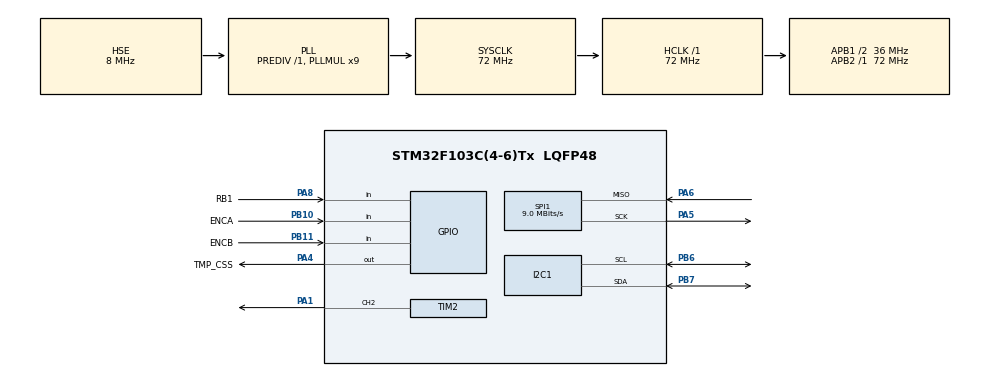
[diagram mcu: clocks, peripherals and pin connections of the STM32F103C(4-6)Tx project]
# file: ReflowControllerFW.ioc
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I2C1.I2C_Mode=I2C_Fast
Mcu.Family=STM32F1
Mcu.Name=STM32F103C(4-6)Tx
Mcu.Package=LQFP48
NVIC.PriorityGroup=NVIC_PRIORITYGROUP_4
PA1.Signal=S_TIM2_CH2
PA13.Mode=Trace_Asynchronous_SW
PA13.Signal=SYS_JTMS-SWDIO
PA14.Mode=Trace_Asynchronous_SW
PA14.Signal=SYS_JTCK-SWCLK
PA4.GPIO_Label=TMP_CSS
PA4.Signal=GPIO_Output
PA5.Mode=RX_Only_Simplex_Unidirect_Master
PA5.Signal=SPI1_SCK
PA6.Mode=RX_Only_Simplex_Unidirect_Master
PA6.Signal=SPI1_MISO
PA8.GPIO_Label=RB1
PA8.Signal=GPIO_Input
PB10.GPIO_Label=ENCA
PB10.GPIO_PuPd=GPIO_PULLUP
PB10.Signal=GPIO_Input
PB11.GPIO_Label=ENCB
PB11.GPIO_PuPd=GPIO_PULLUP
PB11.Signal=GPIO_Input
PB3.Mode=Trace_Asynchronous_SW
PB3.Signal=SYS_JTDO-TRACESWO
PB6.Mode=I2C
PB6.Signal=I2C1_SCL
PB7.Mode=I2C
PB7.Signal=I2C1_SDA
PD0-OSC_IN.Mode=HSE-External-Oscillator
PD0-OSC_IN.Signal=RCC_OSC_IN
PD1-OSC_OUT.Mode=HSE-External-Oscillator
PD1-OSC_OUT.Signal=RCC_OSC_OUT
ProjectManager.HeapSize=0x200
ProjectManager.StackSize=0x400
ProjectManager.TargetToolchain=STM32CubeIDE
RCC.AHBFreq_Value=72000000
RCC.APB1CLKDivider=RCC_HCLK_DIV2
RCC.APB1Freq_Value=36000000
RCC.APB1TimFreq_Value=72000000
RCC.APB2Freq_Value=72000000
RCC.APB2TimFreq_Value=72000000
RCC.HCLKFreq_Value=72000000
RCC.PLLMUL=RCC_PLL_MUL9
RCC.PLLSourceVirtual=RCC_PLLSOURCE_HSE
RCC.SYSCLKFreq_VALUE=72000000
RCC.SYSCLKSource=RCC_SYSCLKSOURCE_PLLCLK
RCC.USBFreq_Value=72000000
SH.S_TIM2_CH2.0=TIM2_CH2,PWM Generation2 CH2
SPI1.BaudRatePrescaler=SPI_BAUDRATEPRESCALER_8
SPI1.CalculateBaudRate=9.0 MBits/s
SPI1.Direction=SPI_DIRECTION_2LINES_RXONLY
SPI1.Mode=SPI_MODE_MASTER
SPI1.VirtualType=VM_MASTER
TIM2.Channel-PWM\ Generation2\ CH2=TIM_CHANNEL_2
TIM2.Period=100-1
TIM2.Prescaler=7200-1
VP_TIM2_VS_ClockSourceINT.Mode=Internal
board=custom

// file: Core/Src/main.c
/* USER CODE BEGIN Header */
/**
  ******************************************************************************
  * @file           : main.c
  * @brief          : Main program body
  ******************************************************************************
  * @attention
  *
  * Copyright (c) 2022 STMicroelectronics.
  * All rights reserved.
  *
  * This software is licensed under terms that can be found in the LICENSE file
  * in the root directory of this software component.
  * If no LICENSE file comes with this software, it is provided AS-IS.
  *
  ******************************************************************************
  */
/* USER CODE END Header */
#include "main.h"
#include "PID.h"
#include "fonts.h"
#include "ssd1306.h"
#include "Encoder.h"

I2C_HandleTypeDef hi2c1;

SPI_HandleTypeDef hspi1;

TIM_HandleTypeDef htim2;

void SystemClock_Config(void);
static void MX_GPIO_Init(void);
static void MX_I2C1_Init(void);
static void MX_SPI1_Init(void);
static void MX_TIM2_Init(void);

int main(void)
{

  /* MCU Configuration--------------------------------------------------------*/

  /* Reset of all peripherals, Initializes the Flash interface and the Systick. */
  HAL_Init();

  /* USER CODE BEGIN Init */
  PIDController pid;
  Profile profile;
  Encoder encoder;

  Encoder_Init(&encoder, GPIOB, ENCA_Pin, ENCB_Pin);
  PIDController_Init(&pid);
  /* USER CODE END Init */

  /* Configure the system clock */
  SystemClock_Config();

  /* Initialize all configured peripherals */
  MX_GPIO_Init();
  MX_I2C1_Init();
  MX_SPI1_Init();
  MX_TIM2_Init();

  /* Infinite loop */
  /* USER CODE BEGIN WHILE */

  HAL_TIM_PWM_Start(&htim2, TIM_CHANNEL_2);
  SSD1306_Init();
  menuScreen_static();
  while (1)
  {
	  static screenState state = MENU;
	  switch(state){
	  case MENU:
		  state = menuScreen_dynamic(&encoder);
		  break;
	  case PROFILE:
		  state = profileScreen_dynamic(&profile, &encoder);
		  break;
	  case PID:
		  state = pidScreen_dynamic(&pid, &encoder);
		  break;
	  case REFLOW:
		  state = reflowScreen_dynamic(&pid, &profile, &encoder);
		  break;
	  case FINISH:
		  state = finishScreen_dynamic(&encoder);
		  break;
	  }
    /* USER CODE END WHILE */

  }
}

void SystemClock_Config(void)
{
  RCC_OscInitTypeDef RCC_OscInitStruct = {0};
  RCC_ClkInitTypeDef RCC_ClkInitStruct = {0};

  /** Initializes the RCC Oscillators according to the specified parameters
  * in the RCC_OscInitTypeDef structure.
  */
  RCC_OscInitStruct.OscillatorType = RCC_OSCILLATORTYPE_HSE;
  RCC_OscInitStruct.HSEState = RCC_HSE_ON;
  RCC_OscInitStruct.HSEPredivValue = RCC_HSE_PREDIV_DIV1;
  RCC_OscInitStruct.HSIState = RCC_HSI_ON;
  RCC_OscInitStruct.PLL.PLLState = RCC_PLL_ON;
  RCC_OscInitStruct.PLL.PLLSource = RCC_PLLSOURCE_HSE;
  RCC_OscInitStruct.PLL.PLLMUL = RCC_PLL_MUL9;
  if (HAL_RCC_OscConfig(&RCC_OscInitStruct) != HAL_OK)
  {
    Error_Handler();
  }

  /** Initializes the CPU, AHB and APB buses clocks
  */
  RCC_ClkInitStruct.ClockType = RCC_CLOCKTYPE_HCLK|RCC_CLOCKTYPE_SYSCLK
                              |RCC_CLOCKTYPE_PCLK1|RCC_CLOCKTYPE_PCLK2;
  RCC_ClkInitStruct.SYSCLKSource = RCC_SYSCLKSOURCE_PLLCLK;
  RCC_ClkInitStruct.AHBCLKDivider = RCC_SYSCLK_DIV1;
  RCC_ClkInitStruct.APB1CLKDivider = RCC_HCLK_DIV2;
  RCC_ClkInitStruct.APB2CLKDivider = RCC_HCLK_DIV1;

  if (HAL_RCC_ClockConfig(&RCC_ClkInitStruct, FLASH_LATENCY_2) != HAL_OK)
  {
    Error_Handler();
  }
}

static void MX_I2C1_Init(void)
{

  hi2c1.Instance = I2C1;
  hi2c1.Init.ClockSpeed = 400000;
  hi2c1.Init.DutyCycle = I2C_DUTYCYCLE_2;
  hi2c1.Init.OwnAddress1 = 0;
  hi2c1.Init.AddressingMode = I2C_ADDRESSINGMODE_7BIT;
  hi2c1.Init.DualAddressMode = I2C_DUALADDRESS_DISABLE;
  hi2c1.Init.OwnAddress2 = 0;
  hi2c1.Init.GeneralCallMode = I2C_GENERALCALL_DISABLE;
  hi2c1.Init.NoStretchMode = I2C_NOSTRETCH_DISABLE;
  if (HAL_I2C_Init(&hi2c1) != HAL_OK)
  {
    Error_Handler();
  }

}

static void MX_SPI1_Init(void)
{

  /* SPI1 parameter configuration*/
  hspi1.Instance = SPI1;
  hspi1.Init.Mode = SPI_MODE_MASTER;
  hspi1.Init.Direction = SPI_DIRECTION_2LINES_RXONLY;
  hspi1.Init.DataSize = SPI_DATASIZE_8BIT;
  hspi1.Init.CLKPolarity = SPI_POLARITY_LOW;
  hspi1.Init.CLKPhase = SPI_PHASE_1EDGE;
  hspi1.Init.NSS = SPI_NSS_SOFT;
  hspi1.Init.BaudRatePrescaler = SPI_BAUDRATEPRESCALER_8;
  hspi1.Init.FirstBit = SPI_FIRSTBIT_MSB;
  hspi1.Init.TIMode = SPI_TIMODE_DISABLE;
  hspi1.Init.CRCCalculation = SPI_CRCCALCULATION_DISABLE;
  hspi1.Init.CRCPolynomial = 10;
  if (HAL_SPI_Init(&hspi1) != HAL_OK)
  {
    Error_Handler();
  }

}

static void MX_TIM2_Init(void)
{

  TIM_ClockConfigTypeDef sClockSourceConfig = {0};
  TIM_MasterConfigTypeDef sMasterConfig = {0};
  TIM_OC_InitTypeDef sConfigOC = {0};

  htim2.Instance = TIM2;
  htim2.Init.Prescaler = 7200-1;
  htim2.Init.CounterMode = TIM_COUNTERMODE_UP;
  htim2.Init.Period = 100-1;
  htim2.Init.ClockDivision = TIM_CLOCKDIVISION_DIV1;
  htim2.Init.AutoReloadPreload = TIM_AUTORELOAD_PRELOAD_DISABLE;
  if (HAL_TIM_Base_Init(&htim2) != HAL_OK)
  {
    Error_Handler();
  }
  sClockSourceConfig.ClockSource = TIM_CLOCKSOURCE_INTERNAL;
  if (HAL_TIM_ConfigClockSource(&htim2, &sClockSourceConfig) != HAL_OK)
  {
    Error_Handler();
  }
  if (HAL_TIM_PWM_Init(&htim2) != HAL_OK)
  {
    Error_Handler();
  }
  sMasterConfig.MasterOutputTrigger = TIM_TRGO_RESET;
  sMasterConfig.MasterSlaveMode = TIM_MASTERSLAVEMODE_DISABLE;
  if (HAL_TIMEx_MasterConfigSynchronization(&htim2, &sMasterConfig) != HAL_OK)
  {
    Error_Handler();
  }
  sConfigOC.OCMode = TIM_OCMODE_PWM1;
  sConfigOC.Pulse = 0;
  sConfigOC.OCPolarity = TIM_OCPOLARITY_HIGH;
  sConfigOC.OCFastMode = TIM_OCFAST_DISABLE;
  if (HAL_TIM_PWM_ConfigChannel(&htim2, &sConfigOC, TIM_CHANNEL_2) != HAL_OK)
  {
    Error_Handler();
  }
  HAL_TIM_MspPostInit(&htim2);

}

static void MX_GPIO_Init(void)
{
  GPIO_InitTypeDef GPIO_InitStruct = {0};

  /* GPIO Ports Clock Enable */
  __HAL_RCC_GPIOD_CLK_ENABLE();
  __HAL_RCC_GPIOA_CLK_ENABLE();
  __HAL_RCC_GPIOB_CLK_ENABLE();

  /*Configure GPIO pin Output Level */
  HAL_GPIO_WritePin(TMP_CSS_GPIO_Port, TMP_CSS_Pin, GPIO_PIN_RESET);

  /*Configure GPIO pin : TMP_CSS_Pin */
  GPIO_InitStruct.Pin = TMP_CSS_Pin;
  GPIO_InitStruct.Mode = GPIO_MODE_OUTPUT_PP;
  GPIO_InitStruct.Pull = GPIO_NOPULL;
  GPIO_InitStruct.Speed = GPIO_SPEED_FREQ_LOW;
  HAL_GPIO_Init(TMP_CSS_GPIO_Port, &GPIO_InitStruct);

  /*Configure GPIO pins : ENCA_Pin ENCB_Pin */
  GPIO_InitStruct.Pin = ENCA_Pin|ENCB_Pin;
  GPIO_InitStruct.Mode = GPIO_MODE_INPUT;
  GPIO_InitStruct.Pull = GPIO_PULLUP;
  HAL_GPIO_Init(GPIOB, &GPIO_InitStruct);

  /*Configure GPIO pin : RB1_Pin */
  GPIO_InitStruct.Pin = RB1_Pin;
  GPIO_InitStruct.Mode = GPIO_MODE_INPUT;
  GPIO_InitStruct.Pull = GPIO_PULLUP;
  HAL_GPIO_Init(RB1_GPIO_Port, &GPIO_InitStruct);

}

/* USER CODE BEGIN 4 */
void menuScreen_static(){
	  SSD1306_Clear();
	  SSD1306_GotoXY (0,3);
	  SSD1306_Puts ("  REFLOW", &Font_11x18, 1);
	  SSD1306_GotoXY (0, 24);
	  SSD1306_Puts ("  PROFILE", &Font_11x18, 1);
	  SSD1306_GotoXY (0, 45);
	  SSD1306_Puts ("  PID", &Font_11x18, 1);
	  SSD1306_UpdateScreen();
}
screenState menuScreen_dynamic(Encoder *encoder){
	static int menuSelect = 3;
	int encRead = 0;
	encRead = Encoder_Read(encoder, GPIOB);
	if (encRead != 0){
		if ((encRead == 1) && (menuSelect < 45)){
			menuSelect += 21;
		}
		else if ((encRead == -1) && (menuSelect > 3)){
			menuSelect -= 21;
		}
		SSD1306_GotoXY (0, menuSelect);
		SSD1306_Puts (">", &Font_11x18, 1);
		SSD1306_GotoXY (0, menuSelect - 21);
		SSD1306_Puts (" ", &Font_11x18, 1);
		SSD1306_GotoXY (0, menuSelect + 21);
		SSD1306_Puts (" ", &Font_11x18, 1);
		SSD1306_UpdateScreen();
	}
	if (HAL_GPIO_ReadPin(RB1_GPIO_Port, RB1_Pin) == GPIO_PIN_RESET){
		if (menuSelect == 3){
			return REFLOW;
		}
		else if (menuSelect == 24){
			return PROFILE;
		}
		else if (menuSelect == 45){
			return PID;
		}
	}
	return MENU;
}
void reflowScreen_static(){
	SSD1306_Clear();

}
screenState reflowScreen_dynamic(PIDController *pid, Profile *profile, Encoder *encoder){
	static uint16_t time = 1;
	if (HAL_GPIO_ReadPin(RB1_GPIO_Port, RB1_Pin) == GPIO_PIN_RESET){
		SSD1306_Clear();
		return FINISH;
	}
	HAL_Delay(1000);

	// NEED TO IMPLIMENT SPI COMMUNICATION WITH THERMOCOUPLE
	SSD1306_DrawPixel(time, time, SSD1306_COLOR_WHITE);
	time++;

}
void profileScreen_static(Profile *profile){
	char profileString[20];
	SSD1306_Clear();
	SSD1306_GotoXY (0,3);
	sprintf(profileString, "  Soak Temp: %u", profile->soakTemp);
	SSD1306_Puts (profileString, &Font_11x18, 1);
	SSD1306_GotoXY (0, 24);
	sprintf(profileString, "  Soak Time: %u", profile->soakTime);
	SSD1306_Puts (profileString, &Font_11x18, 1);
	SSD1306_GotoXY (0, 45);
	sprintf(profileString, "  Soak Temp: %u", profile->peakTemp);
	SSD1306_Puts (profileString, &Font_11x18, 1);
	SSD1306_UpdateScreen();
}
screenState profileScreen_dynamic(Profile *profile, Encoder *encoder){
	static uint16_t profileSelect = 3;
	char profileString[20];
	if (profileSelect == 3){
		profile->soakTemp += Encoder_Read(encoder, GPIOB);
		SSD1306_GotoXY (0,3);
		sprintf(profileString, "> Soak Temp: %u", profile->soakTemp);
		SSD1306_Puts (profileString, &Font_11x18, 1);
		SSD1306_UpdateScreen();
		if ((HAL_GPIO_ReadPin(RB1_GPIO_Port, RB1_Pin) == GPIO_PIN_RESET)){
			profileSelect = 24;
		}
	}
	if (profileSelect == 24){
		profile->soakTime += Encoder_Read(encoder, GPIOB);
		SSD1306_GotoXY (0,24);
		sprintf(profileString, "> Soak Time: %u", profile->soakTime);
		SSD1306_Puts (profileString, &Font_11x18, 1);
		SSD1306_UpdateScreen();
		if ((HAL_GPIO_ReadPin(RB1_GPIO_Port, RB1_Pin) == GPIO_PIN_RESET)){
			profileSelect = 45;
		}
	}
	if (profileSelect == 45){
		profile->peakTemp += Encoder_Read(encoder, GPIOB);
		SSD1306_GotoXY (0,45);
		sprintf(profileString, "> Peak Temp: %u", profile->peakTemp);
		SSD1306_Puts (profileString, &Font_11x18, 1);
		SSD1306_UpdateScreen();
		if ((HAL_GPIO_ReadPin(RB1_GPIO_Port, RB1_Pin) == GPIO_PIN_RESET)){
			return MENU;
		}
	}
}
void pidScreen_static(PIDController *pid){

}
screenState pidScreen_dynamic(PIDController *pid, Encoder *encoder){

}
screenState finishScreen_dynamic(Encoder *encoder){

}
/* USER CODE END 4 */

void Error_Handler(void)
{
  __disable_irq();
  while (1)
  {
  }
}
